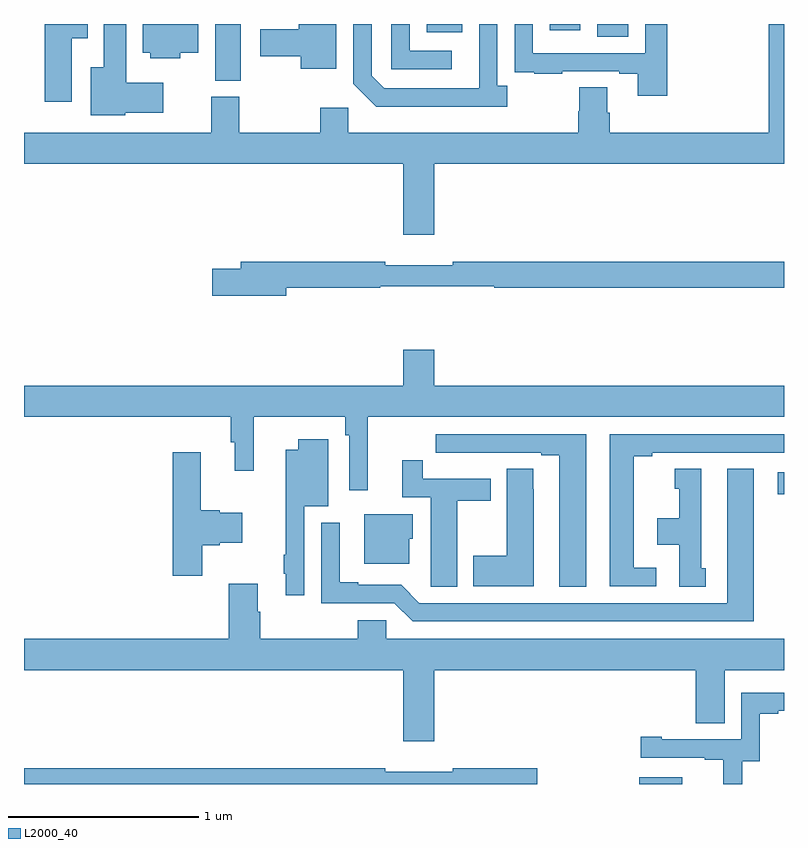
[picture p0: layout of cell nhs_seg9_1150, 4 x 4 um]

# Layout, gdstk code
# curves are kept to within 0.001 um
import gdstk
lib = gdstk.Library(unit=1e-6, precision=1e-09)
def R(c, l, rs):  # rectangles x0, y0, x1, y1
    for r in rs: c.add(gdstk.rectangle(r[:2], r[2:], *l))
def P(c, l, *ps):  # polygons
    for p in ps: c.add(gdstk.Polygon(p, *l))
L2000_40 = (2000, 40)

nhs_seg9_1150 = lib.new_cell('nhs_seg9_1150')
R(nhs_seg9_1150, L2000_40, [(178.238,1182.5,178.465,1182.535), (178.968,1184.026,179,1184.142), (176.006,1186.201,176.14,1186.5), (178.016,1186.432,178.18,1186.5), (177.119,1186.457,177.307,1186.5), (177.767,1186.467,177.928,1186.5)])
P(nhs_seg9_1150, L2000_40, [(176.644,1186.5),(176.445,1186.5),(176.445,1186.472),(176.244,1186.472),(176.244,1186.33),(176.456,1186.33),(176.456,1186.265),(176.644,1186.265)],
  [(177.25,1186.359),(177.03,1186.359),(177.03,1186.5),(176.934,1186.5),(176.934,1186.263),(177.25,1186.263)],
  [(178.385,1186.5),(178.269,1186.5),(178.269,1186.347),(177.678,1186.347),(177.678,1186.5),(177.582,1186.5),(177.582,1186.354),(177.583,1186.354),(177.583,1186.245),(177.685,1186.245),(177.685,1186.239),(177.833,1186.239),(177.833,1186.251),(178.133,1186.251),(178.133,1186.239),(178.229,1186.239),(178.229,1186.122),(178.385,1186.122)],
  [(177.544,1186.174),(177.492,1186.174),(177.492,1186.5),(177.396,1186.5),(177.395,1186.161),(176.895,1186.161),(176.829,1186.227),(176.829,1186.5),(176.733,1186.5),(176.733,1186.185),(176.854,1186.064),(177.544,1186.064)],
  [(175.533,1186.034),(175.732,1186.034),(175.732,1186.192),(175.537,1186.192),(175.537,1186.5),(175.421,1186.5),(175.421,1186.273),(175.352,1186.273),(175.352,1186.019),(175.533,1186.019)],
  [(177.16,1185.764),(179,1185.764),(179,1186.5),(178.919,1186.5),(178.919,1185.928),(178.082,1185.928),(178.082,1186.034),(178.069,1186.034),(178.069,1186.166),(177.922,1186.166),(177.922,1186.041),(177.917,1186.041),(177.917,1185.928),(176.706,1185.928),(176.706,1186.06),(176.56,1186.06),(176.56,1185.928),(176.133,1185.928),(176.133,1186.116),(175.985,1186.116),(175.985,1185.928),(175,1185.928),(175,1185.764),(176.996,1185.764),(176.996,1185.39),(177.16,1185.39)],
  [(175.822,1186.349),(175.918,1186.349),(175.918,1186.5),(175.625,1186.5),(175.625,1186.349),(175.664,1186.349),(175.664,1186.319),(175.822,1186.319)],
  [(175.252,1186.424),(175.336,1186.424),(175.336,1186.5),(175.109,1186.5),(175.109,1186.092),(175.252,1186.092)],
  [(176.38,1185.112),(176.876,1185.112),(176.876,1185.12),(177.476,1185.12),(177.476,1185.112),(179,1185.112),(179,1185.248),(177.256,1185.248),(177.256,1185.229),(176.9,1185.229),(176.9,1185.248),(176.141,1185.248),(176.141,1185.212),(175.992,1185.212),(175.992,1185.07),(176.38,1185.07)],
  [(176.81,1184.432),(179,1184.432),(179,1184.596),(177.16,1184.596),(177.16,1184.785),(176.996,1184.785),(176.996,1184.596),(175,1184.596),(175,1184.432),(176.089,1184.432),(176.089,1184.298),(176.108,1184.298),(176.108,1184.148),(176.208,1184.148),(176.208,1184.432),(176.692,1184.432),(176.692,1184.336),(176.712,1184.336),(176.712,1184.046),(176.81,1184.046)],
  [(178.327,1183.638),(178.21,1183.638),(178.21,1184.224),(178.306,1184.224),(178.306,1184.244),(179,1184.244),(179,1184.34),(178.082,1184.34),(178.082,1183.542),(178.327,1183.542)],
  [(177.958,1184.34),(177.168,1184.34),(177.168,1184.244),(177.28,1184.244),(177.28,1184.243),(177.446,1184.243),(177.446,1184.244),(177.722,1184.244),(177.722,1184.229),(177.818,1184.229),(177.818,1183.537),(177.958,1183.537)],
  [(176.475,1183.961),(176.602,1183.961),(176.602,1184.314),(176.444,1184.314),(176.444,1184.26),(176.378,1184.26),(176.378,1183.965),(176.377,1183.965),(176.377,1183.706),(176.367,1183.706),(176.367,1183.606),(176.378,1183.606),(176.378,1183.494),(176.475,1183.494)],
  [(175.938,1183.757),(176.031,1183.757),(176.031,1183.769),(176.149,1183.769),(176.149,1183.927),(176.031,1183.927),(176.031,1183.94),(175.93,1183.94),(175.93,1184.245),(175.784,1184.245),(175.784,1183.596),(175.938,1183.596)],
  [(177.28,1183.99),(177.457,1183.99),(177.457,1184.106),(177.098,1184.106),(177.098,1184.203),(176.99,1184.203),(176.99,1184.01),(177.14,1184.01),(177.14,1183.648),(177.141,1183.648),(177.141,1183.537),(177.28,1183.537)],
  [(177.682,1184.051),(177.681,1184.051),(177.681,1184.159),(177.542,1184.159),(177.542,1183.701),(177.365,1183.701),(177.365,1183.541),(177.682,1183.541)],
  [(178.84,1184.158),(178.7,1184.158),(178.7,1183.452),(177.081,1183.452),(176.985,1183.548),(176.758,1183.548),(176.758,1183.561),(176.662,1183.561),(176.662,1183.876),(176.565,1183.876),(176.565,1183.452),(176.949,1183.452),(177.045,1183.356),(178.84,1183.356)],
  [(178.588,1183.635),(178.564,1183.635),(178.564,1184.158),(178.424,1184.158),(178.424,1184.055),(178.448,1184.055),(178.448,1183.9),(178.334,1183.9),(178.334,1183.76),(178.448,1183.76),(178.448,1183.537),(178.588,1183.537)],
  [(177.028,1183.791),(177.046,1183.791),(177.046,1183.921),(176.792,1183.921),(176.792,1183.658),(177.028,1183.658)],
  [(176.907,1183.362),(176.756,1183.362),(176.756,1183.264),(176.243,1183.264),(176.243,1183.406),(176.23,1183.406),(176.23,1183.555),(176.078,1183.555),(176.078,1183.264),(175,1183.264),(175,1183.1),(176.996,1183.1),(176.996,1182.726),(177.16,1182.726),(177.16,1183.1),(178.535,1183.1),(178.535,1182.82),(178.687,1182.82),(178.687,1183.1),(179,1183.1),(179,1183.264),(176.907,1183.264)],
  [(178.779,1182.619),(178.873,1182.619),(178.873,1182.87),(178.969,1182.87),(178.969,1182.885),(179,1182.885),(179,1182.981),(178.776,1182.981),(178.776,1182.735),(178.357,1182.735),(178.357,1182.748),(178.245,1182.748),(178.245,1182.639),(178.583,1182.639),(178.583,1182.627),(178.679,1182.627),(178.679,1182.5),(178.779,1182.5)],
  [(177.701,1182.584),(177.256,1182.584),(177.256,1182.565),(176.9,1182.565),(176.9,1182.584),(175,1182.584),(175,1182.5),(177.701,1182.5)])

lib.write_gds('nhs_seg9_1150.gds')
